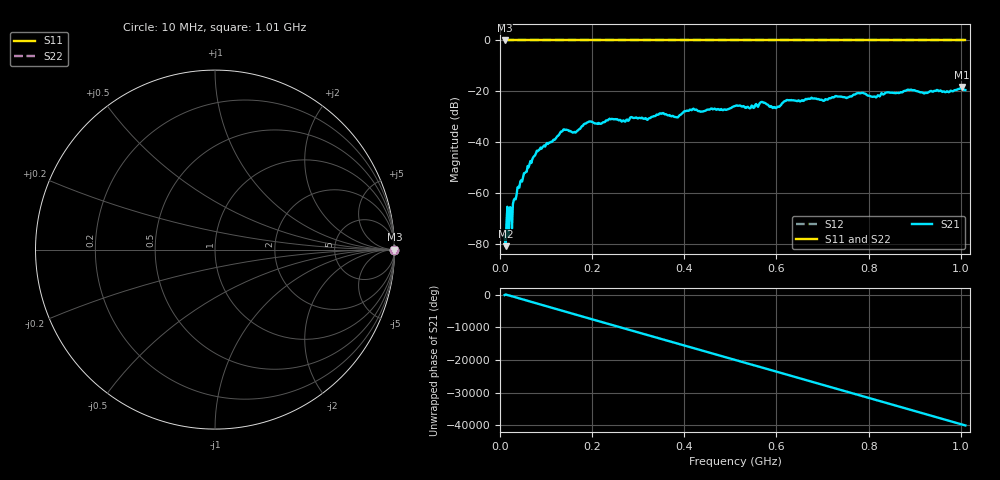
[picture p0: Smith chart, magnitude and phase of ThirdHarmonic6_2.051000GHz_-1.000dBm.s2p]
! 8/17/2025 12:35:28 AM
! C:\ANRITSUVNA\TEMP\TEMP.S2P
! CHANNEL.1
! TR.MEASUREMENT
! RAW.DATA
! RF.CORRECTION.OFF
! AVERAGING.OFF
! IF.BANDWIDTH: 5KHZ
! SWEEPTYPE:  FREQ.SWEEP(Linear)
! Reference Plane Port Info
! PORT:  PORT1  PORT2
! DISTANCE:  0  m  0  m
! TIME:  0  s  0  s
! PHASE.OFFSET:  0  deg.  0  deg.
! LOSS:  0  dB  0  dB
! REF.LOSS:  0  dB  0  dB
! REF.FREQ:  0  Hz  0  Hz
! Power Info
! POWER:  -20  dBm  -20  dBm
! EFF.POWER:  -20  dBm  -20  dBm
! SOURCE.ATTEN:  0  dB  0  dB
! TEST.ATTEN:  0  dB  0  dB
# GHZ S RI R 50.0
! FREQ.GHZ  S11RE  S11IM  S21RE  S21IM  S12RE  S12IM  S22RE  S22IM
!; PortSelection: Port_12
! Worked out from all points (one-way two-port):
!   501 points, 10 MHz to 1.01 GHz, reference 50 ohm
!   highest |S21| = -18.30 dB at 1.002 GHz (marker M1); lowest = -80.9 dB at 12 MHz (marker M2)
!   lowest |S11| = 0.0 dB at 10 MHz (marker M3)
!   |S11| at or under -10 dB: nowhere
!   |S22| runs from 0.0 to 0.0 dB; largest |S21 - S12| = 1.1
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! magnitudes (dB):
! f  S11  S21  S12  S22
! 10 MHz  0.0  -76.7  0.0  0.0
! 12 MHz  0.0  -80.9  0.0  0.0
! 14 MHz  0.0  -72.1  0.0  0.0
! 20 MHz  0.0  -69.9  0.0  0.0
! 22 MHz  0.0  -65.5  0.0  0.0
! 42 MHz  0.0  -57.8  0.0  0.0
! 78 MHz  0.0  -44.4  0.0  0.0
! 136 MHz  0.0  -35.5  0.0  0.0
! 162 MHz  0.0  -36.0  0.0  0.0
! 178 MHz  0.0  -33.7  0.0  0.0
! 194 MHz  0.0  -31.9  0.0  0.0
! 344 MHz  0.0  -29.1  0.0  0.0
! 382 MHz  0.0  -30.2  0.0  0.0
! 416 MHz  0.0  -27.4  0.0  0.0
! 510 MHz  0.0  -25.8  0.0  0.0
! 570 MHz  0.0  -24.2  0.0  0.0
! 596 MHz  0.0  -26.2  0.0  0.0
! 622 MHz  0.0  -23.4  0.0  0.0
! 678 MHz  0.0  -22.8  0.0  0.0
! 844 MHz  0.0  -20.4  0.0  0.0
! 1.002 GHz  0.0  -18.3  0.0  0.0
! 1.01 GHz  0.0  -19.5  0.0  0.0
